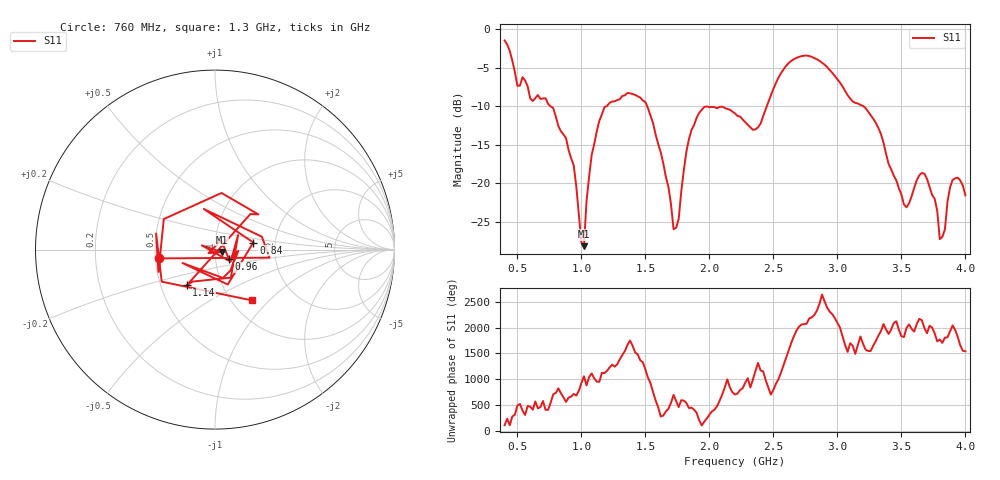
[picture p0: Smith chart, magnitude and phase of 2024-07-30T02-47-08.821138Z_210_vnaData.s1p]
!Created with skrf (http://scikit-rf.org).
# Hz S RI R 50.0
!freq ReS11 ImS11
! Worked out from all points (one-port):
!   181 points, 400 MHz to 4 GHz, reference 50 ohm
!   lowest |S11| = -28.2 dB at 1.02 GHz (marker M1), VSWR 1.08, Z = 53.8 - j1.49 ohm
!   |S11| at or under -10 dB: 758 MHz to 1.196 GHz (437.8 MHz wide, 44.8 % of centre); 1.513 GHz to 2.448 GHz (935 MHz wide, 47.2 % of centre); 3.202 GHz to end of sweep
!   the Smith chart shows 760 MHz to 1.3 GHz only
!   S11 on the Smith chart (normalised r, x): 760 MHz: 0.52, -0.06; 840 MHz: 1.54, +0.13; 960 MHz: 1.16, -0.13; 1.14 GHz: 0.68, -0.29; 1.3 GHz: 1.24, -0.80
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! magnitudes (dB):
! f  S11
! 400 MHz  -1.5
! 500 MHz  -7.4
! 760 MHz  -10.0
! 840 MHz  -13.3
! 860 MHz  -13.7
! 960 MHz  -20.4
! 1 GHz  -27.7
! 1.02 GHz  -28.2
! 1.08 GHz  -16.3
! 1.14 GHz  -11.9
! 1.3 GHz  -9.1
! 1.5 GHz  -9.5
! 1.64 GHz  -17.5
! 1.72 GHz  -26.0
! 1.76 GHz  -24.6
! 1.82 GHz  -15.9
! 1.92 GHz  -10.9
! 2.2 GHz  -10.9
! 2.38 GHz  -12.8
! 2.66 GHz  -3.9
! 3.1 GHz  -9.0
! 3.3 GHz  -12.2
! 3.56 GHz  -22.6
! 3.68 GHz  -18.8
! 3.76 GHz  -22.0
! 3.8 GHz  -27.3
! 3.9 GHz  -19.6
! 4 GHz  -21.6
